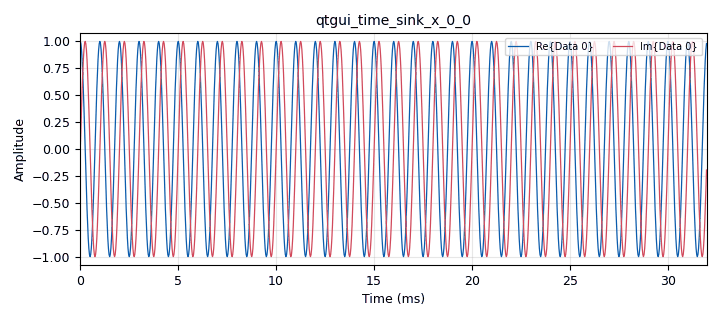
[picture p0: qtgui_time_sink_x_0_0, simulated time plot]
options:
  parameters:
    generate_options: qt_gui
    id: test_traffic_gen
    output_language: python
    title: Traffic Gen - Test block
  states: {}

blocks:
- name: samp_rate
  id: variable
  parameters:
    value: '32000'
  states: {}
- name: tag_name
  id: variable
  parameters:
    value: '"packet_length"'
  states: {}
- name: analog_sig_source_x_0
  id: analog_sig_source_x
  parameters:
    amp: '1'
    freq: '1000'
    offset: '0'
    phase: '0'
    samp_rate: samp_rate
    type: complex
    waveform: analog.GR_COS_WAVE
  states: {}
- name: blocks_stream_to_tagged_stream_0
  id: blocks_stream_to_tagged_stream
  parameters:
    len_tag_key: tag_name
    packet_len: '3000'
    type: complex
  states: {}
- name: blocks_tag_debug_0
  id: blocks_tag_debug
  parameters:
    type: complex
  states: {}
- name: blocks_throttle_0
  id: blocks_throttle
  parameters:
    samples_per_second: samp_rate
    type: complex
  states: {}
- name: qtgui_time_sink_x_0
  id: qtgui_time_sink_x
  parameters:
    size: '1024'
    srate: samp_rate
    type: complex
  states: {}
- name: qtgui_time_sink_x_0_0
  id: qtgui_time_sink_x
  parameters:
    size: '1024'
    srate: samp_rate
    type: complex
  states: {}
- name: traffic_gen_margin_cut_0
  id: traffic_gen_margin_cut
  parameters:
    end_margin: '250'
    head_margin: '250'
    tag_name: tag_name
    zero_fill: 'True'
  states: {}

connections:
- [analog_sig_source_x_0, '0', blocks_stream_to_tagged_stream_0, '0']
- [blocks_stream_to_tagged_stream_0, '0', blocks_throttle_0, '0']
- [blocks_throttle_0, '0', qtgui_time_sink_x_0_0, '0']
- [blocks_throttle_0, '0', traffic_gen_margin_cut_0, '0']
- [traffic_gen_margin_cut_0, '0', blocks_tag_debug_0, '0']
- [traffic_gen_margin_cut_0, '0', qtgui_time_sink_x_0, '0']

metadata:
  file_format: 1
